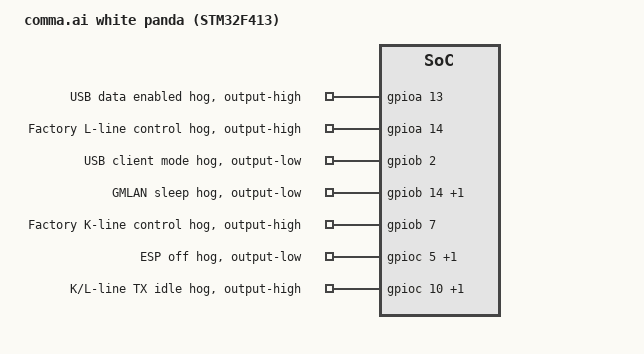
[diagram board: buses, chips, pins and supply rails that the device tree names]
/* SPDX-License-Identifier: Apache-2.0 */
/dts-v1/;
#include "../common/panda_f4.dtsi"

/ {
	model = "comma.ai white panda (STM32F413)";
	compatible = "comma,panda-white";
};

&gpioa {
	/* USB client mode: PA13=1, PB2=0. PA13 is also SWDIO. */
	usb_client {
		gpio-hog;
		gpios = <13 GPIO_ACTIVE_HIGH>;
		output-high;
		line-name = "USB data enabled";
	};
	lline_control {
		gpio-hog;
		gpios = <14 GPIO_ACTIVE_HIGH>;
		output-high;
		line-name = "Factory L-line control";
	};
};

&gpiob {
	usb_charger {
		gpio-hog;
		gpios = <2 GPIO_ACTIVE_HIGH>;
		output-low;
		line-name = "USB client mode";
	};
	gmlan_sleep {
		gpio-hog;
		gpios = <14 GPIO_ACTIVE_HIGH>, <15 GPIO_ACTIVE_HIGH>;
		output-low;
		line-name = "GMLAN sleep";
	};
	kline_control {
		gpio-hog;
		gpios = <7 GPIO_ACTIVE_HIGH>;
		output-high;
		line-name = "Factory K-line control";
	};
};

&gpioc {
	esp_off {
		gpio-hog;
		gpios = <5 GPIO_ACTIVE_HIGH>, <14 GPIO_ACTIVE_HIGH>;
		output-low;
		line-name = "ESP off";
	};
	/* Leave the unused serial transceiver TX inputs at UART idle. */
	serial_idle {
		gpio-hog;
		gpios = <10 GPIO_ACTIVE_HIGH>, <12 GPIO_ACTIVE_HIGH>;
		output-high;
		line-name = "K/L-line TX idle";
	};
};
